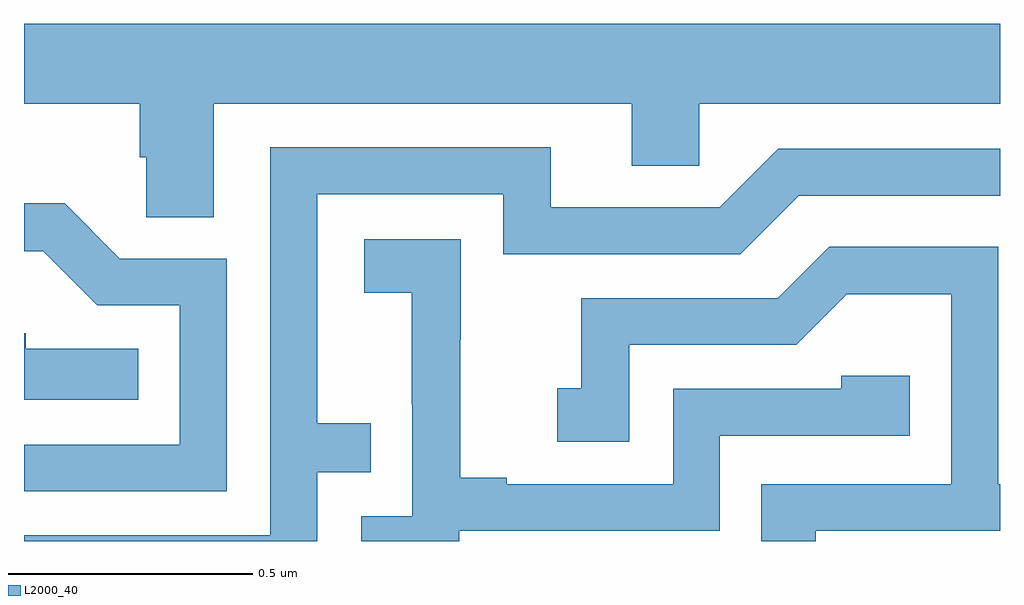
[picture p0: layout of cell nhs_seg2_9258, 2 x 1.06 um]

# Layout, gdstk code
import gdstk
lib = gdstk.Library(unit=1e-6, precision=1e-09)
def P(c, l, *ps):  # polygons
    for p in ps: c.add(gdstk.Polygon(p, *l))
L2000_40 = (2000, 40)

nhs_seg2_9258 = lib.new_cell('nhs_seg2_9258')
P(nhs_seg2_9258, L2000_40, [(227.389,587.696),(228.245,587.696),(228.245,587.569),(228.384,587.569),(228.384,587.696),(229,587.696),(229,587.86),(227,587.86),(227,587.696),(227.237,587.696),(227.237,587.587),(227.25,587.587),(227.25,587.464),(227.389,587.464)],
  [(227.601,586.941),(227.711,586.941),(227.711,587.042),(227.601,587.042),(227.601,587.511),(227.982,587.511),(227.982,587.388),(228.468,587.388),(228.588,587.508),(229,587.508),(229,587.604),(228.546,587.604),(228.426,587.484),(228.079,587.484),(228.079,587.607),(227.505,587.607),(227.505,586.812),(227,586.812),(227,586.8),(227.601,586.8)],
  [(227.415,587.379),(227.196,587.379),(227.083,587.492),(227,587.492),(227,587.394),(227.039,587.394),(227.15,587.283),(227.319,587.283),(227.319,586.998),(227,586.998),(227,586.902),(227.415,586.902)],
  [(227.892,586.821),(228.426,586.821),(228.426,587.016),(228.815,587.016),(228.815,587.139),(228.675,587.139),(228.675,587.112),(228.33,587.112),(228.33,586.917),(227.989,586.917),(227.989,586.93),(227.894,586.93),(227.894,587.213),(227.895,587.213),(227.895,587.419),(227.697,587.419),(227.697,587.309),(227.795,587.309),(227.795,587.081),(227.796,587.081),(227.796,586.851),(227.691,586.851),(227.691,586.8),(227.892,586.8)],
  [(228.622,586.821),(229,586.821),(229,586.917),(228.996,586.917),(228.996,587.403),(228.65,587.403),(228.545,587.298),(228.142,587.298),(228.142,587.113),(228.093,587.113),(228.093,587.004),(228.24,587.004),(228.24,587.202),(228.582,587.202),(228.686,587.306),(228.9,587.306),(228.9,586.917),(228.511,586.917),(228.511,586.8),(228.622,586.8)],
  [(227.234,587.194),(227.004,587.194),(227.004,587.226),(227,587.226),(227,587.09),(227.234,587.09)])

lib.write_gds('nhs_seg2_9258.gds')
